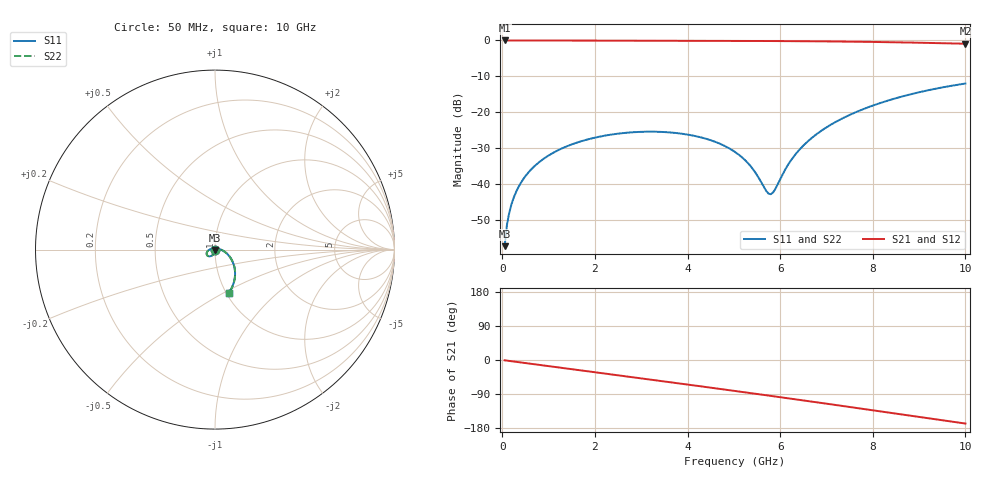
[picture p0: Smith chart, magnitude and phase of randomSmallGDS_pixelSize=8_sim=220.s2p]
! freq	dB(S11)	phase(S11)	dB(S12)	phase(S12)
!  dB(S21)	phase(S21)	dB(S22)	phase(S22)
!S-par simulation data
#  GHz  S  DB  R 50
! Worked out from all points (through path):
!   200 points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, 50 MHz to 10 GHz, reference 50 ohm
!   highest |S21| = 0.00 dB at 50 MHz (marker M1); lowest = -0.9 dB at 10 GHz (marker M2)
!   group delay of S21, straight-line fit = 46.5 ps
!   lowest |S11| = -57.2 dB at 50 MHz (marker M3), VSWR 1.00, Z = 50 - j0.138 ohm
!   |S11| at or under -10 dB: start of sweep to end of sweep
!   |S22| runs from -57.2 to -12.0 dB; largest |S21 - S12| = 0
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0.05  -57.22 -91.1  -0.00 -0.8  -0.00 -0.8  -57.23 -91.1
0.1  -51.34 -93.0  -0.00 -1.6  -0.00 -1.6  -51.34 -92.9
0.2  -45.50 -94.8  -0.00 -3.3  -0.00 -3.3  -45.50 -94.8
0.35  -40.76 -97.0  -0.00 -5.7  -0.00 -5.7  -40.76 -97.0
0.5  -37.74 -99.3  -0.01 -8.1  -0.01 -8.1  -37.74 -99.3
0.7  -34.91 -102.5  -0.01 -11.4  -0.01 -11.4  -34.91 -102.5
1  -32.00 -107.5  -0.02 -16.2  -0.02 -16.2  -32.00 -107.5
1.75  -27.86 -120.0  -0.04 -28.3  -0.04 -28.3  -27.86 -120.0
2.55  -25.85 -133.4  -0.05 -41.2  -0.05 -41.2  -25.85 -133.5
3.4  -25.42 -148.1  -0.07 -55.0  -0.07 -55.0  -25.42 -148.2
4.35  -27.16 -166.1  -0.10 -70.5  -0.10 -70.5  -27.16 -166.2
5.05  -31.23 176.3  -0.12 -82.1  -0.12 -82.1  -31.23 176.0
5.35  -34.78 163.1  -0.13 -87.1  -0.13 -87.1  -34.76 162.6
5.7  -41.88 116.3  -0.15 -93.0  -0.15 -93.0  -41.71 115.7
5.8  -42.77 84.1  -0.16 -94.7  -0.16 -94.7  -42.55 84.1
5.9  -41.20 53.1  -0.16 -96.4  -0.16 -96.4  -41.03 53.7
6.25  -33.05 9.7  -0.19 -102.4  -0.19 -102.4  -33.01 10.2
6.7  -26.93 -7.7  -0.23 -110.1  -0.23 -110.1  -26.92 -7.4
7.4  -21.33 -24.2  -0.31 -122.2  -0.31 -122.2  -21.32 -24.0
8.35  -16.63 -42.6  -0.48 -138.8  -0.48 -138.8  -16.63 -42.5
9.2  -13.84 -58.1  -0.68 -153.7  -0.68 -153.7  -13.84 -58.0
10  -11.98 -72.1  -0.91 -167.7  -0.91 -167.7  -11.98 -72.0
